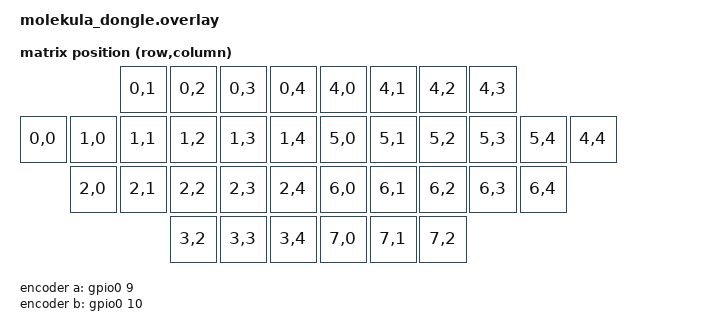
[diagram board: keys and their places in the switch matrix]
#include <dt-bindings/zmk/matrix_transform.h>
#include "molekula-layouts.dtsi"

&physical_layout0 {
    transform = <&default_transform>;
};

/ {
    chosen {
        zmk,kscan = &mock_kscan;
        zmk,physical-layout = &physical_layout0;
    };

    mock_kscan: mock_kscan_0 {
        compatible = "zmk,kscan-mock";
        columns = <0>;
        rows = <0>;
        events = <0>;
    };

    default_transform: keymap_transform_0 {
        compatible = "zmk,matrix-transform";
        columns = <10>;
        rows = <5>;
        map = <
                            RC(0,1) RC(0,2) RC(0,3) RC(0,4)     RC(4,0) RC(4,1) RC(4,2) RC(4,3)
            RC(0,0) RC(1,0) RC(1,1) RC(1,2) RC(1,3) RC(1,4)     RC(5,0) RC(5,1) RC(5,2) RC(5,3) RC(5,4) RC(4,4)
                    RC(2,0) RC(2,1) RC(2,2) RC(2,3) RC(2,4)     RC(6,0) RC(6,1) RC(6,2) RC(6,3) RC(6,4)
                                    RC(3,2) RC(3,3) RC(3,4)     RC(7,0) RC(7,1) RC(7,2)
        >;
    };

    encoder: encoder_left {
        compatible = "alps,ec11";
		// NFC pins in nRF52 series: P0.09 and P0.10
		a-gpios = <&gpio0 9  (GPIO_ACTIVE_HIGH | GPIO_PULL_UP)>;
		b-gpios = <&gpio0 10 (GPIO_ACTIVE_HIGH | GPIO_PULL_UP)>;
        steps = <48>;
        status = "okay";
    };

    sensors: sensors {
        compatible = "zmk,keymap-sensors";
        sensors = <&encoder>;
        triggers-per-rotation = <24>;
    };
};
